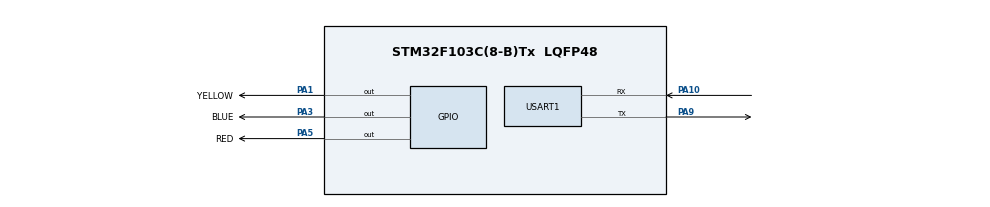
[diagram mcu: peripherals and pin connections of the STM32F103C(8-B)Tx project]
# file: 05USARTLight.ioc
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Mcu.Family=STM32F1
Mcu.Name=STM32F103C(8-B)Tx
Mcu.Package=LQFP48
NVIC.PriorityGroup=NVIC_PRIORITYGROUP_4
PA1.GPIO_Label=YELLOW
PA1.Signal=GPIO_Output
PA10.Mode=Asynchronous
PA10.Signal=USART1_RX
PA13.Mode=Serial_Wire
PA13.Signal=SYS_JTMS-SWDIO
PA14.Mode=Serial_Wire
PA14.Signal=SYS_JTCK-SWCLK
PA3.GPIO_Label=BLUE
PA3.Signal=GPIO_Output
PA5.GPIO_Label=RED
PA5.Signal=GPIO_Output
PA9.Mode=Asynchronous
PA9.Signal=USART1_TX
ProjectManager.HeapSize=0x200
ProjectManager.StackSize=0x400
ProjectManager.TargetToolchain=CMake
RCC.APB1Freq_Value=8000000
RCC.APB2Freq_Value=8000000
USART1.VirtualMode=VM_ASYNC
board=custom

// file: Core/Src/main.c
/* USER CODE BEGIN Header */
/**
  ******************************************************************************
  * @file           : main.c
  * @brief          : Main program body
  ******************************************************************************
  * @attention
  *
  * Copyright (c) 2026 STMicroelectronics.
  * All rights reserved.
  *
  * This software is licensed under terms that can be found in the LICENSE file
  * in the root directory of this software component.
  * If no LICENSE file comes with this software, it is provided AS-IS.
  *
  ******************************************************************************
  */
/* USER CODE END Header */
#include "main.h"
#include "usart.h"
#include "gpio.h"

/* USER CODE BEGIN Includes */
#include <stdint.h>
#include<string.h>
/* USER CODE END Includes */

void SystemClock_Config(void);

int main(void)
{

  /* MCU Configuration--------------------------------------------------------*/

  /* Reset of all peripherals, Initializes the Flash interface and the Systick. */
  HAL_Init();

  /* Configure the system clock */
  SystemClock_Config();

  /* Initialize all configured peripherals */
  MX_GPIO_Init();
  MX_USART1_UART_Init();
  /* USER CODE BEGIN 2 */
  uint8_t r_data[2];//用于接收数据的存放
  GPIO_PinState S;//定义引脚状态，便于后续直接更改
  /* USER CODE END 2 */

  /* Infinite loop */
  /* USER CODE BEGIN WHILE */
  while (1)
  {
    //接收数据，一直等待
    HAL_UART_Receive(&huart1,r_data,2  ,HAL_MAX_DELAY);
    //接收后发回电脑
    HAL_UART_Transmit(&huart1, r_data, 2, 10);

    //判断实现控制小灯
    if(r_data[1] == '1')
    {
      S = GPIO_PIN_SET;
    }
    else
    {
      S = GPIO_PIN_RESET;
    }

    if(r_data[0] == 'Y')
    {
      HAL_GPIO_WritePin(YELLOW_GPIO_Port, YELLOW_Pin, S);
    }
    else if(r_data[0] == 'R')
    {
      HAL_GPIO_WritePin(RED_GPIO_Port , RED_Pin, S);
    }
    else if(r_data[0] == 'B')
    {
      HAL_GPIO_WritePin(BLUE_GPIO_Port, BLUE_Pin, S);
    }
    /* USER CODE END WHILE */

  }
}

void SystemClock_Config(void)
{
  RCC_OscInitTypeDef RCC_OscInitStruct = {0};
  RCC_ClkInitTypeDef RCC_ClkInitStruct = {0};

  /** Initializes the RCC Oscillators according to the specified parameters
  * in the RCC_OscInitTypeDef structure.
  */
  RCC_OscInitStruct.OscillatorType = RCC_OSCILLATORTYPE_HSI;
  RCC_OscInitStruct.HSIState = RCC_HSI_ON;
  RCC_OscInitStruct.HSICalibrationValue = RCC_HSICALIBRATION_DEFAULT;
  RCC_OscInitStruct.PLL.PLLState = RCC_PLL_NONE;
  if (HAL_RCC_OscConfig(&RCC_OscInitStruct) != HAL_OK)
  {
    Error_Handler();
  }

  /** Initializes the CPU, AHB and APB buses clocks
  */
  RCC_ClkInitStruct.ClockType = RCC_CLOCKTYPE_HCLK|RCC_CLOCKTYPE_SYSCLK
                              |RCC_CLOCKTYPE_PCLK1|RCC_CLOCKTYPE_PCLK2;
  RCC_ClkInitStruct.SYSCLKSource = RCC_SYSCLKSOURCE_HSI;
  RCC_ClkInitStruct.AHBCLKDivider = RCC_SYSCLK_DIV1;
  RCC_ClkInitStruct.APB1CLKDivider = RCC_HCLK_DIV1;
  RCC_ClkInitStruct.APB2CLKDivider = RCC_HCLK_DIV1;

  if (HAL_RCC_ClockConfig(&RCC_ClkInitStruct, FLASH_LATENCY_0) != HAL_OK)
  {
    Error_Handler();
  }
}

void Error_Handler(void)
{
  __disable_irq();
  while (1)
  {
  }
}
